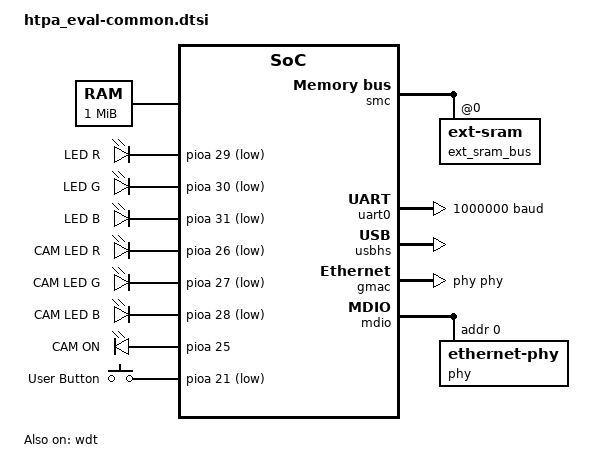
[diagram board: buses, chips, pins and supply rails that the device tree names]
/*
 * Copyright (c) 2017 Piotr Mienkowski
 * Copyright (c) 2017 Justin Watson
 * Copyright (c) 2020 Stephanos Ioannidis <root@stephanos.io>
 * Copyright (c) 2020 Gerson Fernando Budke <nandojve@gmail.com>
 * Copyright (c) 2026 sensry.io
 *
 * SPDX-License-Identifier: Apache-2.0
 */

#include "htpa_eval-pinctrl.dtsi"
#include <zephyr/dt-bindings/input/input-event-codes.h>
#include <zephyr/dt-bindings/clock/atmel_sam_pmc.h>
#include <zephyr/dt-bindings/memory-attr/memory-attr-arm.h>

/ {
	aliases {
		led-r = &led_r;
		led-g = &led_g;
		led-b = &led_b;
		cam-led-r = &cam_led_r;
		cam-led-g = &cam_led_g;
		cam-led-b = &cam_led_b;
		cam-on = &cam_on;
		sw0 = &sw0_user_button;
		watchdog0 = &wdt;
	};

	chosen {
		zephyr,console = &uart0;
		zephyr,shell-uart = &uart0;
		zephyr,sram = &sram0;
		zephyr,flash = &flash0;
		zephyr,code-partition = &slot0_partition;
	};

	extsram0: memory@60000000 {
		compatible = "zephyr,memory-region";
		device_type = "memory";
		status = "okay";
		reg = <0x60000000 0x00100000>;
		zephyr,memory-region = "EXTSRAM";
		zephyr,memory-region-flags = "rw";
		zephyr,memory-attr = <DT_MEM_ARM_MPU_RAM_NOCACHE>;
	};

	leds {
		compatible = "gpio-leds";

		led_r: led_r {
			gpios = <&pioa 29 GPIO_ACTIVE_LOW>;
			label = "LED R";
		};

		led_g: led_g {
			gpios = <&pioa 30 GPIO_ACTIVE_LOW>;
			label = "LED G";
		};

		led_b: led_b {
			gpios = <&pioa 31 GPIO_ACTIVE_LOW>;
			label = "LED B";
		};

		cam_led_r: cam_led_r {
			gpios = <&pioa 26 GPIO_ACTIVE_LOW>;
			label = "CAM LED R";
		};

		cam_led_g: cam_led_g {
			gpios = <&pioa 27 GPIO_ACTIVE_LOW>;
			label = "CAM LED G";
		};

		cam_led_b: cam_led_b {
			gpios = <&pioa 28 GPIO_ACTIVE_LOW>;
			label = "CAM LED B";
		};

		cam_on: cam_on {
			gpios = <&pioa 25 GPIO_ACTIVE_HIGH>;
			label = "CAM ON";
		};
	};

	gpio_keys {
		compatible = "gpio-keys";

		sw0_user_button: button_1 {
			label = "User Button";
			gpios = <&pioa 21 (GPIO_PULL_UP | GPIO_ACTIVE_LOW)>;
			zephyr,code = <INPUT_KEY_0>;
		};
	};

	soc {
		smc: smc@40080000 {
			compatible = "atmel,sam-smc";
			reg = <0x40080000 0x200>;
			clocks = <&pmc PMC_TYPE_PERIPHERAL 9>;
			#address-cells = <1>;
			#size-cells = <0>;
			pinctrl-0 = <&smc_default>;
			pinctrl-names = "default";
			status = "okay";

			ext_sram_bus: ext-sram@0 {
				reg = <0>;
				/* this needs: PR #112329 */
				/* atmel,smc-data-bus-width = <16>; */
				atmel,smc-write-mode = "nwe";
				atmel,smc-read-mode = "nrd";
				atmel,smc-setup-timing = <1 1 1 1>;
				/*
				 * MCK is 300 MHz on SAME70, so one cycle is 3.33 ns.
				 * 14 cycles is the minimum value that meets the 45 ns access time.
				 */
				atmel,smc-pulse-timing = <14 14 14 14>;
				atmel,smc-cycle-timing = <15 15>;
				status = "okay";
			};
		};
	};
};

&cpu0 {
	clock-frequency = <300000000>;
};

&uart0 {
	status = "okay";
	current-speed = <1000000>;

	pinctrl-0 = <&uart0_default>;
	pinctrl-names = "default";
};

&wdt {
	status = "okay";
};

&usbhs {
	status = "okay";
};

&gmac {
	status = "okay";

	pinctrl-0 = <&gmac_rmii>;
	pinctrl-names = "default";

	phy-handle = <&phy>;
	zephyr,random-mac-address;
};

&mdio {
	status = "okay";

	pinctrl-0 = <&mdio_default>;
	pinctrl-names = "default";

	phy: ethernet-phy@0 {
		compatible = "ethernet-phy";
		status = "okay";
		reg = <0>;
	};
};

&xdmac {
	status = "okay";
};

&pioc {
	status = "okay";
};
